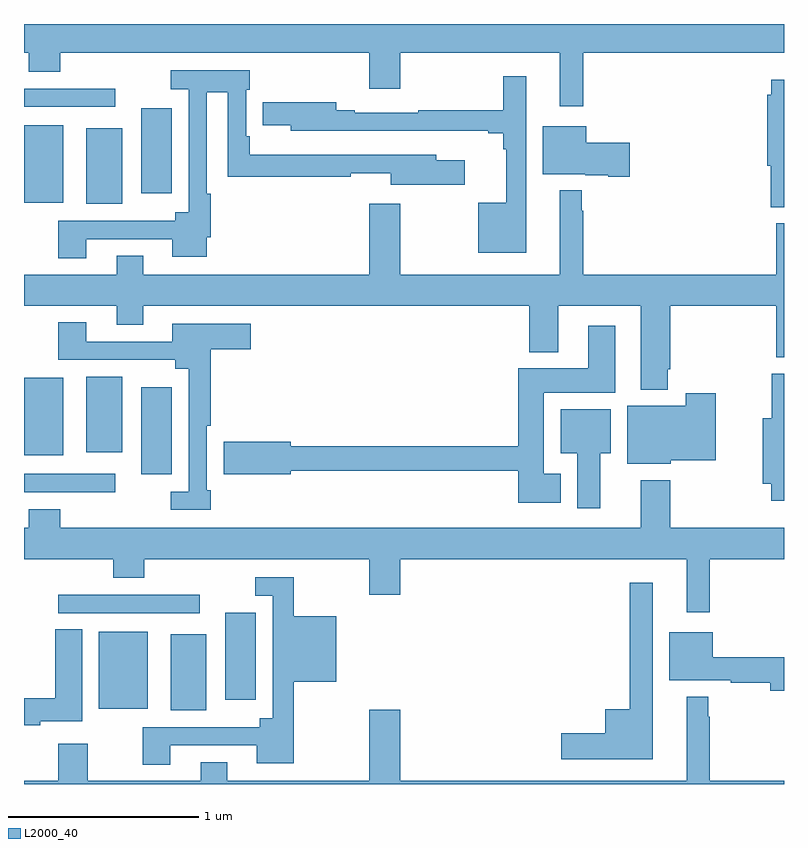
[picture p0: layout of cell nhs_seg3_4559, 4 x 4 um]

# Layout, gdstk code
import gdstk
lib = gdstk.Library(unit=1e-6, precision=1e-09)
def R(c, l, rs):  # rectangles x0, y0, x1, y1
    for r in rs: c.add(gdstk.rectangle(r[:2], r[2:], *l))
def P(c, l, *ps):  # polygons
    for p in ps: c.add(gdstk.Polygon(p, *l))
L2000_40 = (2000, 40)

nhs_seg3_4559 = lib.new_cell('nhs_seg3_4559')
R(nhs_seg3_4559, L2000_40, [(355.772,698.789,355.96,699.187), (355.394,698.795,355.651,699.202), (356.06,698.844,356.221,699.301), (355.179,699.3,355.924,699.396), (355,699.936,355.48,700.032), (355.616,700.031,355.777,700.489), (355,700.13,355.207,700.537), (355.328,700.145,355.516,700.543), (355.328,701.453,355.516,701.851), (355,701.459,355.207,701.866), (355.616,701.508,355.777,701.956), (355,701.964,355.48,702.06)])
P(nhs_seg3_4559, L2000_40, [(357.943,702.248),(359,702.248),(359,702.4),(355,702.4),(355,702.248),(355.025,702.248),(355.025,702.149),(355.19,702.149),(355.19,702.248),(356.816,702.248),(356.816,702.06),(356.98,702.06),(356.98,702.248),(357.821,702.248),(357.821,701.967),(357.943,701.967)],
  [(355.327,701.268),(355.781,701.268),(355.781,701.174),(355.963,701.174),(355.963,701.278),(355.982,701.278),(355.982,701.506),(355.962,701.506),(355.962,702.04),(356.073,702.04),(356.073,701.596),(356.72,701.596),(356.72,701.615),(356.93,701.615),(356.93,701.554),(357.319,701.554),(357.319,701.683),(357.169,701.683),(357.169,701.712),(356.189,701.712),(356.189,701.809),(356.169,701.809),(356.169,702.053),(356.189,702.053),(356.189,702.156),(355.773,702.156),(355.773,702.056),(355.866,702.056),(355.866,701.41),(355.796,701.41),(355.796,701.364),(355.18,701.364),(355.18,701.166),(355.327,701.166)],
  [(357.643,702.124),(357.522,702.124),(357.522,701.947),(357.076,701.947),(357.076,701.934),(356.74,701.934),(356.74,701.947),(356.644,701.947),(356.644,701.989),(356.256,701.989),(356.256,701.867),(356.405,701.867),(356.405,701.838),(357.443,701.838),(357.443,701.826),(357.522,701.826),(357.522,701.741),(357.539,701.741),(357.539,701.458),(357.392,701.458),(357.392,701.195),(357.643,701.195)],
  [(359,702.106),(358.934,702.106),(358.934,702.027),(358.913,702.027),(358.913,701.655),(358.929,701.655),(358.929,701.436),(359,701.436)],
  [(358.189,701.775),(357.958,701.775),(357.958,701.863),(357.731,701.863),(357.731,701.609),(357.954,701.609),(357.954,701.603),(358.076,701.603),(358.076,701.597),(358.189,701.597)],
  [(358.387,700.582),(358.4,700.582),(358.4,700.916),(358.959,700.916),(358.959,700.645),(359,700.645),(359,701.351),(358.959,701.351),(358.959,701.08),(357.943,701.08),(357.943,701.417),(357.935,701.417),(357.935,701.524),(357.821,701.524),(357.821,701.08),(356.98,701.08),(356.98,701.455),(356.816,701.455),(356.816,701.08),(355.627,701.08),(355.627,701.179),(355.487,701.179),(355.487,701.08),(355,701.08),(355,700.916),(355.487,700.916),(355.487,700.817),(355.627,700.817),(355.627,700.916),(357.659,700.916),(357.659,700.673),(357.811,700.673),(357.811,700.916),(358.247,700.916),(358.247,700.475),(358.387,700.475)],
  [(355.982,699.946),(355.962,699.946),(355.962,700.285),(355.982,700.285),(355.982,700.688),(356.194,700.688),(356.194,700.822),(355.781,700.822),(355.781,700.728),(355.327,700.728),(355.327,700.831),(355.18,700.831),(355.18,700.632),(355.796,700.632),(355.796,700.586),(355.866,700.586),(355.866,699.939),(355.773,699.939),(355.773,699.843),(355.982,699.843)],
  [(357.826,700.033),(357.736,700.033),(357.736,700.46),(358.111,700.46),(358.111,700.813),(357.971,700.813),(357.971,700.588),(357.602,700.588),(357.602,700.178),(356.404,700.178),(356.404,700.202),(356.052,700.202),(356.052,700.031),(356.404,700.031),(356.404,700.05),(357.602,700.05),(357.602,699.881),(357.826,699.881)],
  [(359,700.56),(358.936,700.56),(358.936,700.324),(358.889,700.324),(358.889,699.98),(358.934,699.98),(358.934,699.891),(359,699.891)],
  [(358.404,700.103),(358.642,700.103),(358.642,700.456),(358.484,700.456),(358.484,700.39),(358.175,700.39),(358.175,700.085),(358.404,700.085)],
  [(358.033,700.142),(358.087,700.142),(358.087,700.372),(357.824,700.372),(357.824,700.142),(357.911,700.142),(357.911,699.852),(358.033,699.852)],
  [(358.609,699.584),(359,699.584),(359,699.748),(358.4,699.748),(358.4,700),(358.247,700),(358.247,699.748),(355.19,699.748),(355.19,699.847),(355.025,699.847),(355.025,699.748),(355,699.748),(355,699.584),(355.469,699.584),(355.469,699.485),(355.634,699.485),(355.634,699.584),(356.816,699.584),(356.816,699.396),(356.98,699.396),(356.98,699.584),(358.487,699.584),(358.487,699.303),(358.609,699.303)],
  [(355.771,698.604),(356.225,698.604),(356.225,698.51),(356.419,698.51),(356.419,698.939),(356.644,698.939),(356.644,699.283),(356.419,699.283),(356.419,699.489),(356.217,699.489),(356.217,699.392),(356.309,699.392),(356.309,699.043),(356.31,699.043),(356.31,698.746),(356.24,698.746),(356.24,698.7),(355.624,698.7),(355.624,698.502),(355.771,698.502)],
  [(358.309,699.46),(358.188,699.46),(358.188,698.794),(358.058,698.794),(358.058,698.666),(357.828,698.666),(357.828,698.531),(358.309,698.531)],
  [(355.086,698.729),(355.306,698.729),(355.306,699.215),(355.165,699.215),(355.165,698.852),(355,698.852),(355,698.71),(355.086,698.71)],
  [(359,699.068),(358.624,699.068),(358.624,699.199),(358.397,699.199),(358.397,698.945),(358.72,698.945),(358.72,698.932),(358.928,698.932),(358.928,698.89),(359,698.89)],
  [(359,698.416),(358.609,698.416),(358.609,698.753),(358.602,698.753),(358.602,698.86),(358.487,698.86),(358.487,698.416),(356.98,698.416),(356.98,698.791),(356.816,698.791),(356.816,698.416),(356.071,698.416),(356.071,698.515),(355.931,698.515),(355.931,698.416),(355.335,698.416),(355.335,698.611),(355.18,698.611),(355.18,698.416),(355,698.416),(355,698.4),(359,698.4)])

lib.write_gds('nhs_seg3_4559.gds')
